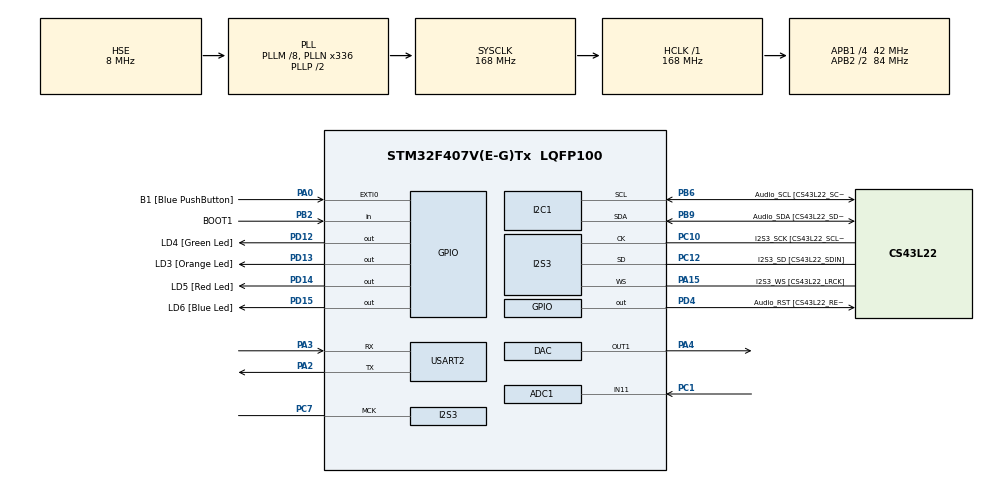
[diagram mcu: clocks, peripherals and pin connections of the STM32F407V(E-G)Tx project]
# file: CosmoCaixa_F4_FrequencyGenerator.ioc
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ADC1.Channel-0\#ChannelRegularConversion=ADC_CHANNEL_11
ADC1.ContinuousConvMode=ENABLE
ADC1.DMAContinuousRequests=ENABLE
ADC1.NbrOfConversionFlag=1
ADC1.Rank-0\#ChannelRegularConversion=1
ADC1.SamplingTime-0\#ChannelRegularConversion=ADC_SAMPLETIME_3CYCLES
ADC1.master=1
DAC.DAC_Trigger=DAC_TRIGGER_T2_TRGO
Dma.ADC1.2.Direction=DMA_PERIPH_TO_MEMORY
Dma.ADC1.2.FIFOMode=DMA_FIFOMODE_DISABLE
Dma.ADC1.2.Instance=DMA2_Stream0
Dma.ADC1.2.MemDataAlignment=DMA_MDATAALIGN_WORD
Dma.ADC1.2.MemInc=DMA_MINC_ENABLE
Dma.ADC1.2.Mode=DMA_CIRCULAR
Dma.ADC1.2.PeriphDataAlignment=DMA_PDATAALIGN_WORD
Dma.ADC1.2.PeriphInc=DMA_PINC_DISABLE
Dma.ADC1.2.Priority=DMA_PRIORITY_LOW
Dma.DAC1.1.Direction=DMA_MEMORY_TO_PERIPH
Dma.DAC1.1.FIFOMode=DMA_FIFOMODE_DISABLE
Dma.DAC1.1.Instance=DMA1_Stream5
Dma.DAC1.1.MemDataAlignment=DMA_MDATAALIGN_WORD
Dma.DAC1.1.MemInc=DMA_MINC_ENABLE
Dma.DAC1.1.Mode=DMA_CIRCULAR
Dma.DAC1.1.PeriphDataAlignment=DMA_PDATAALIGN_WORD
Dma.DAC1.1.PeriphInc=DMA_PINC_DISABLE
Dma.DAC1.1.Priority=DMA_PRIORITY_LOW
Dma.Request0=SPI3_TX
Dma.Request1=DAC1
Dma.Request2=ADC1
Dma.SPI3_TX.0.Direction=DMA_MEMORY_TO_PERIPH
Dma.SPI3_TX.0.FIFOMode=DMA_FIFOMODE_ENABLE
Dma.SPI3_TX.0.FIFOThreshold=DMA_FIFO_THRESHOLD_FULL
Dma.SPI3_TX.0.Instance=DMA1_Stream7
Dma.SPI3_TX.0.MemBurst=DMA_MBURST_SINGLE
Dma.SPI3_TX.0.MemDataAlignment=DMA_MDATAALIGN_HALFWORD
Dma.SPI3_TX.0.MemInc=DMA_MINC_ENABLE
Dma.SPI3_TX.0.Mode=DMA_CIRCULAR
Dma.SPI3_TX.0.PeriphBurst=DMA_PBURST_SINGLE
Dma.SPI3_TX.0.PeriphDataAlignment=DMA_PDATAALIGN_HALFWORD
Dma.SPI3_TX.0.PeriphInc=DMA_PINC_DISABLE
Dma.SPI3_TX.0.Priority=DMA_PRIORITY_LOW
I2S3.AudioFreq=I2S_AUDIOFREQ_48K
I2S3.ErrorAudioFreq=-2.34 %
I2S3.FullDuplexMode=I2S_FULLDUPLEXMODE_DISABLE
I2S3.Instance=SPI$Index
I2S3.RealAudioFreq=46.875 KHz
I2S3.VirtualMode=I2S_MODE_MASTER
Mcu.Family=STM32F4
Mcu.Name=STM32F407V(E-G)Tx
Mcu.Package=LQFP100
NVIC.DMA1_Stream5_IRQn=true\:0\:0\:false\:false\:true\:false\:true
NVIC.DMA1_Stream7_IRQn=true\:0\:0\:false\:false\:true\:false\:true
NVIC.DMA2_Stream0_IRQn=true\:0\:0\:false\:false\:true\:false\:true
NVIC.PriorityGroup=NVIC_PRIORITYGROUP_0
NVIC.TIM2_IRQn=true\:0\:0\:false\:false\:true\:true\:true
PA0-WKUP.GPIO_Label=B1 [Blue PushButton]
PA0-WKUP.GPIO_ModeDefaultEXTI=GPIO_MODE_EVT_RISING
PA0-WKUP.GPIO_PuPd=GPIO_NOPULL
PA0-WKUP.Signal=GPXTI0
PA13.GPIO_Label=SWDIO
PA13.Mode=Serial_Wire
PA13.Signal=SYS_JTMS-SWDIO
PA14.GPIO_Label=SWCLK
PA14.Mode=Serial_Wire
PA14.Signal=SYS_JTCK-SWCLK
PA15.GPIO_Label=I2S3_WS [CS43L22_LRCK]
PA15.GPIO_Mode=GPIO_MODE_AF_PP
PA15.GPIO_PuPd=GPIO_NOPULL
PA15.GPIO_Speed=GPIO_SPEED_FREQ_LOW
PA15.Mode=Half_Duplex_Master
PA15.Signal=I2S3_WS
PA2.Mode=Asynchronous
PA2.Signal=USART2_TX
PA3.Mode=Asynchronous
PA3.Signal=USART2_RX
PA4.Signal=COMP_DAC1_group
PB2.GPIO_Label=BOOT1
PB2.GPIO_Mode=GPIO_MODE_INPUT
PB2.GPIO_PuPd=GPIO_NOPULL
PB2.Signal=GPIO_Input
PB3.GPIO_Label=SWO
PB3.Signal=SYS_JTDO-SWO
PB6.GPIO_Label=Audio_SCL [CS43L22_SCL]
PB6.GPIO_Mode=GPIO_MODE_AF_OD
PB6.GPIO_Pu=GPIO_PULLUP
PB6.GPIO_PuPd=GPIO_NOPULL
PB6.GPIO_Speed=GPIO_SPEED_FREQ_LOW
PB6.Mode=I2C
PB6.Signal=I2C1_SCL
PB9.GPIO_Label=Audio_SDA [CS43L22_SDA]
PB9.GPIO_Mode=GPIO_MODE_AF_OD
PB9.GPIO_Pu=GPIO_PULLUP
PB9.GPIO_PuPd=GPIO_NOPULL
PB9.GPIO_Speed=GPIO_SPEED_FREQ_LOW
PB9.Mode=I2C
PB9.Signal=I2C1_SDA
PC1.Signal=ADCx_IN11
PC10.GPIO_Label=I2S3_SCK [CS43L22_SCLK]
PC10.GPIO_Mode=GPIO_MODE_AF_PP
PC10.GPIO_PuPd=GPIO_NOPULL
PC10.GPIO_Speed=GPIO_SPEED_FREQ_LOW
PC10.Mode=Half_Duplex_Master
PC10.Signal=I2S3_CK
PC12.GPIO_Label=I2S3_SD [CS43L22_SDIN]
PC12.GPIO_Mode=GPIO_MODE_AF_PP
PC12.GPIO_PuPd=GPIO_NOPULL
PC12.GPIO_Speed=GPIO_SPEED_FREQ_LOW
PC12.Mode=Half_Duplex_Master
PC12.Signal=I2S3_SD
PC14-OSC32_IN.GPIO_Label=PC14-OSC32_IN
PC14-OSC32_IN.Mode=LSE-External-Oscillator
PC14-OSC32_IN.Signal=RCC_OSC32_IN
PC15-OSC32_OUT.GPIO_Label=PC15-OSC32_OUT
PC15-OSC32_OUT.Mode=LSE-External-Oscillator
PC15-OSC32_OUT.Signal=RCC_OSC32_OUT
PC7.Mode=Master_Clock_Activated
PC7.Signal=I2S3_MCK
PD12.GPIO_Label=LD4 [Green Led]
PD12.GPIO_PuPd=GPIO_NOPULL
PD12.GPIO_Speed=GPIO_SPEED_FREQ_LOW
PD12.Signal=GPIO_Output
PD13.GPIO_Label=LD3 [Orange Led]
PD13.GPIO_PuPd=GPIO_NOPULL
PD13.GPIO_Speed=GPIO_SPEED_FREQ_LOW
PD13.Signal=GPIO_Output
PD14.GPIO_Label=LD5 [Red Led]
PD14.GPIO_PuPd=GPIO_NOPULL
PD14.GPIO_Speed=GPIO_SPEED_FREQ_LOW
PD14.Signal=GPIO_Output
PD15.GPIO_Label=LD6 [Blue Led]
PD15.GPIO_PuPd=GPIO_NOPULL
PD15.GPIO_Speed=GPIO_SPEED_FREQ_LOW
PD15.Signal=GPIO_Output
PD4.GPIO_Label=Audio_RST [CS43L22_RESET]
PD4.GPIO_PuPd=GPIO_NOPULL
PD4.GPIO_Speed=GPIO_SPEED_FREQ_LOW
PD4.Signal=GPIO_Output
PH0-OSC_IN.GPIO_Label=PH0-OSC_IN
PH0-OSC_IN.Mode=HSE-External-Oscillator
PH0-OSC_IN.Signal=RCC_OSC_IN
PH1-OSC_OUT.GPIO_Label=PH1-OSC_OUT
PH1-OSC_OUT.Mode=HSE-External-Oscillator
PH1-OSC_OUT.Signal=RCC_OSC_OUT
ProjectManager.HeapSize=0x200
ProjectManager.StackSize=0x400
ProjectManager.TargetToolchain=STM32CubeIDE
RCC.48MHZClocksFreq_Value=48000000
RCC.AHBFreq_Value=168000000
RCC.APB1CLKDivider=RCC_HCLK_DIV4
RCC.APB1Freq_Value=42000000
RCC.APB1TimFreq_Value=84000000
RCC.APB2CLKDivider=RCC_HCLK_DIV2
RCC.APB2Freq_Value=84000000
RCC.APB2TimFreq_Value=168000000
RCC.CortexFreq_Value=168000000
RCC.HCLKFreq_Value=168000000
RCC.HSE_VALUE=8000000
RCC.HSI_VALUE=16000000
RCC.PLLM=8
RCC.PLLN=336
RCC.PLLQ=7
RCC.PLLSourceVirtual=RCC_PLLSOURCE_HSE
RCC.SYSCLKFreq_VALUE=168000000
RCC.SYSCLKSource=RCC_SYSCLKSOURCE_PLLCLK
RCC.VCOOutputFreq_Value=336000000
SH.ADCx_IN11.0=ADC1_IN11,IN11
SH.COMP_DAC1_group.0=DAC_OUT1,DAC_OUT1
TIM2.Period=20-1
TIM2.Prescaler=21-1
TIM2.TIM_MasterOutputTrigger=TIM_TRGO_UPDATE
USART2.VirtualMode=VM_ASYNC
VP_TIM2_VS_ClockSourceINT.Mode=Internal
board=STM32F407G-DISC1

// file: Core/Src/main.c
/* USER CODE BEGIN Header */
/**
  ******************************************************************************
  * @file           : main.c
  * @brief          : Main program body
  ******************************************************************************
  * @attention
  *
  * <h2><center>&copy; Copyright (c) 2021 STMicroelectronics.
  * All rights reserved.</center></h2>
  *
  * This software component is licensed by ST under Ultimate Liberty license
  * SLA0044, the "License"; You may not use this file except in compliance with
  * the License. You may obtain a copy of the License at:
  *                             www.st.com/SLA0044
  *
  ******************************************************************************
  */
/* USER CODE END Header */
#include "main.h"

/* USER CODE BEGIN Includes */
#include "MY_CS43L22.h"
#include "math.h"
#include  <errno.h>
#include  <sys/unistd.h>
/* USER CODE END Includes */

/* USER CODE BEGIN PD */
#define PI 			3.14159f

#define F_SAMPLE 	50000.0f
#define F_OUT 		1000.0f

#define AUDIO_CLK			4000000
#define STEADY_OFFSET		2

#define N_SAMPLES 			128

#define ADC_RES 			4096
#define ADC_BUF_LEN 		64
#define ADC_BUF_HALF_LEN	ADC_BUF_LEN / 2

#define MIN_FREQ			1		//1 Hz
#define MAX_FREQ			30		//30 Hz

#define LOW_LEVEL			192		//100mV
#define HIGH_LEVEL			3170	//9.9 Volts

#define FULL_VOLUME			35
//#define PRINT_DEBUG 1
/* USER CODE END PD */

ADC_HandleTypeDef hadc1;
DMA_HandleTypeDef hdma_adc1;

DAC_HandleTypeDef hdac;
DMA_HandleTypeDef hdma_dac1;

I2C_HandleTypeDef hi2c1;

I2S_HandleTypeDef hi2s3;
DMA_HandleTypeDef hdma_spi3_tx;

TIM_HandleTypeDef htim2;

UART_HandleTypeDef huart2;

/* USER CODE BEGIN PV */

float 		sinewave_sample;
float 		sample_dt;
uint16_t 	sample_N;
uint16_t	i_t;
uint32_t	dac_sample;
int16_t		I2S_data[4];

uint32_t adc_buf[ADC_BUF_LEN];
uint32_t sinewave[N_SAMPLES];
HAL_StatusTypeDef ret;

volatile uint8_t ADC_isHalfCplt = 0;
volatile uint8_t ADC_isCplt = 0;

/* USER CODE END PV */

void SystemClock_Config(void);
static void MX_GPIO_Init(void);
static void MX_I2C1_Init(void);
static void MX_DMA_Init(void);
static void MX_DAC_Init(void);
static void MX_TIM2_Init(void);
static void MX_I2S3_Init(void);
static void MX_ADC1_Init(void);
static void MX_USART2_UART_Init(void);
/* USER CODE BEGIN PFP */
float ADC_map(uint32_t x, uint32_t in_min, uint32_t in_max, uint32_t out_min, uint32_t out_max);
uint32_t average(uint32_t *arr, uint32_t N);
void compute_sinewave(void);
uint8_t steady_signal(uint32_t sample);
/* USER CODE END PFP */

/* USER CODE BEGIN 0 */

void compute_sinewave(void){
	for (int i=0; i<N_SAMPLES; i++){
		sinewave[i] = ((sin(i*2*M_PI/N_SAMPLES) + 1)*(4000/2));
	}
}

float ADC_map(uint32_t x, uint32_t in_min, uint32_t in_max, uint32_t out_min, uint32_t out_max) {
	float in_min_f = (float)in_min;
	float in_max_f = (float)in_max;
	float out_min_f = (float)out_min;
	float out_max_f = (float)out_max;
	float res = 0;

	res = (x-in_min_f)*(out_max_f-out_min_f)/(in_max_f-in_min_f) + out_min_f;

	return res;
  //return (uint32_t)(x - in_min) * (out_max - out_min) / (in_max - in_min) + out_min;
}

void compute_ADC_map(uint32_t *arr){

	float freq,tim_arr;

	for(int i=0; i < LOW_LEVEL; i++){
		freq = MIN_FREQ;
		tim_arr = AUDIO_CLK/(N_SAMPLES*freq);
		arr[(ADC_RES-1)-i] = (uint32_t)tim_arr;
	}

	for(int i=LOW_LEVEL; i < HIGH_LEVEL; i++){
		freq = ADC_map(i, LOW_LEVEL, HIGH_LEVEL, MIN_FREQ, MAX_FREQ);
		tim_arr = AUDIO_CLK/(N_SAMPLES*freq);
		arr[(ADC_RES-1)-i] = (uint32_t)tim_arr;
	}

	for(int i=HIGH_LEVEL; i < ADC_RES; i++){
		freq = MAX_FREQ;
		tim_arr = AUDIO_CLK/(N_SAMPLES*freq);
		arr[(ADC_RES-1)-i] = (uint32_t)tim_arr;
	}
}

uint32_t average(uint32_t *arr, uint32_t N){

	int sum = 0;
	for(int i=0; i<N; i++){
		sum = sum + arr[i];
	}

	return sum/N;
}

uint8_t steady_signal(uint32_t sample){

	static uint32_t last_sample = 0;

	if(sample <= last_sample + STEADY_OFFSET && sample >= last_sample - STEADY_OFFSET){
		last_sample = sample;
		return 1;
	}else{
		last_sample = sample;
		return 0;
	}
}

/* USER CODE END 0 */

int main(void)
{
  /* USER CODE BEGIN 1 */
  sample_dt = F_OUT/F_SAMPLE;
  sample_N  = F_SAMPLE/F_OUT;

  uint32_t ADC_meanSample 		= 0;
  uint32_t ADC_rawSample		= 0;
  uint32_t ADC_auxBuf[ADC_BUF_HALF_LEN];
  uint32_t wave_period 		= 0;
  uint32_t last_wave_period = 0;

  uint32_t ADC_map[ADC_RES];

  uint32_t len = 0;

  int TIM_isStopped = 0;
  int TIM_onHighFreq = 0;

  int i = 0;

  /* USER CODE END 1 */

  /* MCU Configuration--------------------------------------------------------*/

  /* Reset of all peripherals, Initializes the Flash interface and the Systick. */
  HAL_Init();

  /* Configure the system clock */
  SystemClock_Config();

  /* Initialize all configured peripherals */
  MX_GPIO_Init();
  MX_I2C1_Init();
  MX_DMA_Init();
  MX_DAC_Init();
  MX_TIM2_Init();
  MX_I2S3_Init();
  MX_ADC1_Init();
  MX_USART2_UART_Init();
  /* USER CODE BEGIN 2 */

  //HAL_ADCEx_Calibration_Start(&hadc1,ADC_SINGLE_ENDED);
  HAL_ADC_Start_DMA(&hadc1, (uint32_t*)adc_buf, ADC_BUF_LEN);

  CS43_Init(hi2c1, CS43_MODE_ANALOG);
  CS43_SetVolume(FULL_VOLUME);
  CS43_Enable_RightLeft(CS43_RIGHT_LEFT);
  CS43_Start();

  // Dummy data for Clock Enabling
  HAL_I2S_Transmit_DMA(&hi2s3, (uint16_t *)I2S_data, 4);

  //HAL_TIM_Base_Start_IT(&htim2);
  HAL_TIM_Base_Start(&htim2);

  compute_sinewave();
  compute_ADC_map(ADC_map);

  //HAL_DAC_Start(&hdac, DAC1_CHANNEL_1);
  HAL_DAC_Start_DMA(&hdac, DAC1_CHANNEL_1, sinewave, N_SAMPLES, DAC_ALIGN_12B_R); //DAC_ALIGN_12B_R

  HAL_Delay(10);
  /* USER CODE END 2 */

  /* Infinite loop */
  /* USER CODE BEGIN WHILE */
  while (1)
  {

	  /*
	   * 	COMPUTE MEAN OF ADC SAMPLES
	   */

	  if(ADC_isHalfCplt){

		  for(i=0; i<ADC_BUF_HALF_LEN; i++){
			  ADC_auxBuf[i] = adc_buf[i];
		  }
		  ADC_meanSample = average(ADC_auxBuf,ADC_BUF_HALF_LEN);
		  ADC_isHalfCplt = 0;
	  }

	  if(ADC_isCplt){

		  for(i=0; i<ADC_BUF_HALF_LEN; i++){
			  ADC_auxBuf[i] = adc_buf[ADC_BUF_HALF_LEN + i];
		  }
		  ADC_meanSample = average(ADC_auxBuf,ADC_BUF_HALF_LEN);
		  ADC_isCplt = 0;
	  }

	  /*
	   * 	CONVERT SAMPLE TO PERIOD
	   */

	  if(ADC_meanSample > LOW_LEVEL){

		  //Check if we come from a '0 Hz state'
		  if(TIM_isStopped){
			  //HAL_DAC_Start_DMA(&hdac, DAC1_CHANNEL_1, sinewave, N_SAMPLES, DAC_ALIGN_12B_R);
			  //CS43_Headphones_Mute(CS43_NO_MUTE);
			  CS43_Start();
			  TIM_isStopped = 0;
		  }

		  //Convert Sample to Period Value
		  wave_period = ADC_map[ADC_RES - ADC_meanSample];
#ifdef PRINT_DEBUG
		  printf("ADC: %ld\tPERIOD: %ld\r\n",ADC_meanSample,wave_period);
#endif
		  //Change Timer Period
		  if(!steady_signal(ADC_meanSample)){
			  htim2.Instance->ARR = (uint32_t)(wave_period - 1);
			  htim2.Instance->EGR = TIM_EGR_UG;
		  }

	  }else if(ADC_meanSample <= LOW_LEVEL && TIM_isStopped == 0){

		  //Disable Timer (0Hz)
		  //HAL_DAC_Stop_DMA(&hdac, DAC1_CHANNEL_1);
		  //CS43_Headphones_Mute(CS43_MUTE);
		  CS43_Stop();
		  TIM_isStopped = 1;
	  }

	HAL_Delay(5);

    /* USER CODE END WHILE */

  }
}

void SystemClock_Config(void)
{
  RCC_OscInitTypeDef RCC_OscInitStruct = {0};
  RCC_ClkInitTypeDef RCC_ClkInitStruct = {0};

  /** Configure the main internal regulator output voltage
  */
  __HAL_RCC_PWR_CLK_ENABLE();
  __HAL_PWR_VOLTAGESCALING_CONFIG(PWR_REGULATOR_VOLTAGE_SCALE1);
  /** Initializes the RCC Oscillators according to the specified parameters
  * in the RCC_OscInitTypeDef structure.
  */
  RCC_OscInitStruct.OscillatorType = RCC_OSCILLATORTYPE_HSE;
  RCC_OscInitStruct.HSEState = RCC_HSE_ON;
  RCC_OscInitStruct.PLL.PLLState = RCC_PLL_ON;
  RCC_OscInitStruct.PLL.PLLSource = RCC_PLLSOURCE_HSE;
  RCC_OscInitStruct.PLL.PLLM = 8;
  RCC_OscInitStruct.PLL.PLLN = 336;
  RCC_OscInitStruct.PLL.PLLP = RCC_PLLP_DIV2;
  RCC_OscInitStruct.PLL.PLLQ = 7;
  if (HAL_RCC_OscConfig(&RCC_OscInitStruct) != HAL_OK)
  {
    Error_Handler();
  }
  /** Initializes the CPU, AHB and APB buses clocks
  */
  RCC_ClkInitStruct.ClockType = RCC_CLOCKTYPE_HCLK|RCC_CLOCKTYPE_SYSCLK
                              |RCC_CLOCKTYPE_PCLK1|RCC_CLOCKTYPE_PCLK2;
  RCC_ClkInitStruct.SYSCLKSource = RCC_SYSCLKSOURCE_PLLCLK;
  RCC_ClkInitStruct.AHBCLKDivider = RCC_SYSCLK_DIV1;
  RCC_ClkInitStruct.APB1CLKDivider = RCC_HCLK_DIV4;
  RCC_ClkInitStruct.APB2CLKDivider = RCC_HCLK_DIV2;

  if (HAL_RCC_ClockConfig(&RCC_ClkInitStruct, FLASH_LATENCY_5) != HAL_OK)
  {
    Error_Handler();
  }
}

static void MX_ADC1_Init(void)
{

  ADC_ChannelConfTypeDef sConfig = {0};

  /** Configure the global features of the ADC (Clock, Resolution, Data Alignment and number of conversion)
  */
  hadc1.Instance = ADC1;
  hadc1.Init.ClockPrescaler = ADC_CLOCK_SYNC_PCLK_DIV4;
  hadc1.Init.Resolution = ADC_RESOLUTION_12B;
  hadc1.Init.ScanConvMode = DISABLE;
  hadc1.Init.ContinuousConvMode = ENABLE;
  hadc1.Init.DiscontinuousConvMode = DISABLE;
  hadc1.Init.ExternalTrigConvEdge = ADC_EXTERNALTRIGCONVEDGE_NONE;
  hadc1.Init.ExternalTrigConv = ADC_SOFTWARE_START;
  hadc1.Init.DataAlign = ADC_DATAALIGN_RIGHT;
  hadc1.Init.NbrOfConversion = 1;
  hadc1.Init.DMAContinuousRequests = ENABLE;
  hadc1.Init.EOCSelection = ADC_EOC_SINGLE_CONV;
  if (HAL_ADC_Init(&hadc1) != HAL_OK)
  {
    Error_Handler();
  }
  /** Configure for the selected ADC regular channel its corresponding rank in the sequencer and its sample time.
  */
  sConfig.Channel = ADC_CHANNEL_11;
  sConfig.Rank = 1;
  sConfig.SamplingTime = ADC_SAMPLETIME_3CYCLES;
  if (HAL_ADC_ConfigChannel(&hadc1, &sConfig) != HAL_OK)
  {
    Error_Handler();
  }

}

static void MX_DAC_Init(void)
{

  DAC_ChannelConfTypeDef sConfig = {0};

  /** DAC Initialization
  */
  hdac.Instance = DAC;
  if (HAL_DAC_Init(&hdac) != HAL_OK)
  {
    Error_Handler();
  }
  /** DAC channel OUT1 config
  */
  sConfig.DAC_Trigger = DAC_TRIGGER_T2_TRGO;
  sConfig.DAC_OutputBuffer = DAC_OUTPUTBUFFER_ENABLE;
  if (HAL_DAC_ConfigChannel(&hdac, &sConfig, DAC_CHANNEL_1) != HAL_OK)
  {
    Error_Handler();
  }

}

static void MX_I2C1_Init(void)
{

  hi2c1.Instance = I2C1;
  hi2c1.Init.ClockSpeed = 100000;
  hi2c1.Init.DutyCycle = I2C_DUTYCYCLE_2;
  hi2c1.Init.OwnAddress1 = 0;
  hi2c1.Init.AddressingMode = I2C_ADDRESSINGMODE_7BIT;
  hi2c1.Init.DualAddressMode = I2C_DUALADDRESS_DISABLE;
  hi2c1.Init.OwnAddress2 = 0;
  hi2c1.Init.GeneralCallMode = I2C_GENERALCALL_DISABLE;
  hi2c1.Init.NoStretchMode = I2C_NOSTRETCH_DISABLE;
  if (HAL_I2C_Init(&hi2c1) != HAL_OK)
  {
    Error_Handler();
  }

}

static void MX_I2S3_Init(void)
{

  hi2s3.Instance = SPI3;
  hi2s3.Init.Mode = I2S_MODE_MASTER_TX;
  hi2s3.Init.Standard = I2S_STANDARD_PHILIPS;
  hi2s3.Init.DataFormat = I2S_DATAFORMAT_16B;
  hi2s3.Init.MCLKOutput = I2S_MCLKOUTPUT_ENABLE;
  hi2s3.Init.AudioFreq = I2S_AUDIOFREQ_48K;
  hi2s3.Init.CPOL = I2S_CPOL_LOW;
  hi2s3.Init.ClockSource = I2S_CLOCK_PLL;
  hi2s3.Init.FullDuplexMode = I2S_FULLDUPLEXMODE_DISABLE;
  if (HAL_I2S_Init(&hi2s3) != HAL_OK)
  {
    Error_Handler();
  }

}

static void MX_TIM2_Init(void)
{

  TIM_ClockConfigTypeDef sClockSourceConfig = {0};
  TIM_MasterConfigTypeDef sMasterConfig = {0};

  htim2.Instance = TIM2;
  htim2.Init.Prescaler = 21-1;
  htim2.Init.CounterMode = TIM_COUNTERMODE_UP;
  htim2.Init.Period = 20-1;
  htim2.Init.ClockDivision = TIM_CLOCKDIVISION_DIV1;
  htim2.Init.AutoReloadPreload = TIM_AUTORELOAD_PRELOAD_DISABLE;
  if (HAL_TIM_Base_Init(&htim2) != HAL_OK)
  {
    Error_Handler();
  }
  sClockSourceConfig.ClockSource = TIM_CLOCKSOURCE_INTERNAL;
  if (HAL_TIM_ConfigClockSource(&htim2, &sClockSourceConfig) != HAL_OK)
  {
    Error_Handler();
  }
  sMasterConfig.MasterOutputTrigger = TIM_TRGO_UPDATE;
  sMasterConfig.MasterSlaveMode = TIM_MASTERSLAVEMODE_DISABLE;
  if (HAL_TIMEx_MasterConfigSynchronization(&htim2, &sMasterConfig) != HAL_OK)
  {
    Error_Handler();
  }

}

static void MX_USART2_UART_Init(void)
{

  huart2.Instance = USART2;
  huart2.Init.BaudRate = 115200;
  huart2.Init.WordLength = UART_WORDLENGTH_8B;
  huart2.Init.StopBits = UART_STOPBITS_1;
  huart2.Init.Parity = UART_PARITY_NONE;
  huart2.Init.Mode = UART_MODE_TX_RX;
  huart2.Init.HwFlowCtl = UART_HWCONTROL_NONE;
  huart2.Init.OverSampling = UART_OVERSAMPLING_16;
  if (HAL_UART_Init(&huart2) != HAL_OK)
  {
    Error_Handler();
  }

}

static void MX_DMA_Init(void)
{

  /* DMA controller clock enable */
  __HAL_RCC_DMA1_CLK_ENABLE();
  __HAL_RCC_DMA2_CLK_ENABLE();

  /* DMA interrupt init */
  /* DMA1_Stream5_IRQn interrupt configuration */
  HAL_NVIC_SetPriority(DMA1_Stream5_IRQn, 0, 0);
  HAL_NVIC_EnableIRQ(DMA1_Stream5_IRQn);
  /* DMA1_Stream7_IRQn interrupt configuration */
  HAL_NVIC_SetPriority(DMA1_Stream7_IRQn, 0, 0);
  HAL_NVIC_EnableIRQ(DMA1_Stream7_IRQn);
  /* DMA2_Stream0_IRQn interrupt configuration */
  HAL_NVIC_SetPriority(DMA2_Stream0_IRQn, 0, 0);
  HAL_NVIC_EnableIRQ(DMA2_Stream0_IRQn);

}

static void MX_GPIO_Init(void)
{
  GPIO_InitTypeDef GPIO_InitStruct = {0};

  /* GPIO Ports Clock Enable */
  __HAL_RCC_GPIOC_CLK_ENABLE();
  __HAL_RCC_GPIOH_CLK_ENABLE();
  __HAL_RCC_GPIOA_CLK_ENABLE();
  __HAL_RCC_GPIOB_CLK_ENABLE();
  __HAL_RCC_GPIOD_CLK_ENABLE();

  /*Configure GPIO pin Output Level */
  HAL_GPIO_WritePin(GPIOD, LD4_Pin|LD3_Pin|LD5_Pin|LD6_Pin
                          |Audio_RST_Pin, GPIO_PIN_RESET);

  /*Configure GPIO pin : B1_Pin */
  GPIO_InitStruct.Pin = B1_Pin;
  GPIO_InitStruct.Mode = GPIO_MODE_EVT_RISING;
  GPIO_InitStruct.Pull = GPIO_NOPULL;
  HAL_GPIO_Init(B1_GPIO_Port, &GPIO_InitStruct);

  /*Configure GPIO pin : BOOT1_Pin */
  GPIO_InitStruct.Pin = BOOT1_Pin;
  GPIO_InitStruct.Mode = GPIO_MODE_INPUT;
  GPIO_InitStruct.Pull = GPIO_NOPULL;
  HAL_GPIO_Init(BOOT1_GPIO_Port, &GPIO_InitStruct);

  /*Configure GPIO pins : LD4_Pin LD3_Pin LD5_Pin LD6_Pin
                           Audio_RST_Pin */
  GPIO_InitStruct.Pin = LD4_Pin|LD3_Pin|LD5_Pin|LD6_Pin
                          |Audio_RST_Pin;
  GPIO_InitStruct.Mode = GPIO_MODE_OUTPUT_PP;
  GPIO_InitStruct.Pull = GPIO_NOPULL;
  GPIO_InitStruct.Speed = GPIO_SPEED_FREQ_LOW;
  HAL_GPIO_Init(GPIOD, &GPIO_InitStruct);

}

/* USER CODE BEGIN 4 */

void HAL_TIM_PeriodElapsedCallback(TIM_HandleTypeDef *htim){

//	UNUSED(htim);
//	if(htim->Instance == TIM2)
//	{
//		sinewave_sample = sinf(i_t * 2 * PI * sample_dt);
//
//		dac_sample = (sinewave_sample + 1)*127;
//		HAL_DAC_SetValue(&hdac, DAC_CHANNEL_1, DAC_ALIGN_8B_R, dac_sample);
//
//		i_t++;
//		if(i_t >= sample_N) i_t = 0;
//	}

}

void HAL_ADC_ConvHalfCpltCallback(ADC_HandleTypeDef* hadc){

	ADC_isHalfCplt = 1;
}

void HAL_ADC_ConvCpltCallback(ADC_HandleTypeDef* hadc){

	ADC_isCplt = 1;
}

#ifdef PRINT_DEBUG
int _write(int file, char *data, int len)
{
   if ((file != STDOUT_FILENO) && (file != STDERR_FILENO))
   {
      errno = EBADF;
      return -1;
   }

   // arbitrary timeout 1000
   HAL_StatusTypeDef status =
      HAL_UART_Transmit(&huart2, (uint8_t*)data, len, 1000);

   // return # of bytes written - as best we can tell
   return (status == HAL_OK ? len : 0);
}
#endif

/* USER CODE END 4 */

void Error_Handler(void)
{
  __disable_irq();
  while (1)
  {
  }
}

/************************ (C) COPYRIGHT STMicroelectronics *****END OF FILE****/
